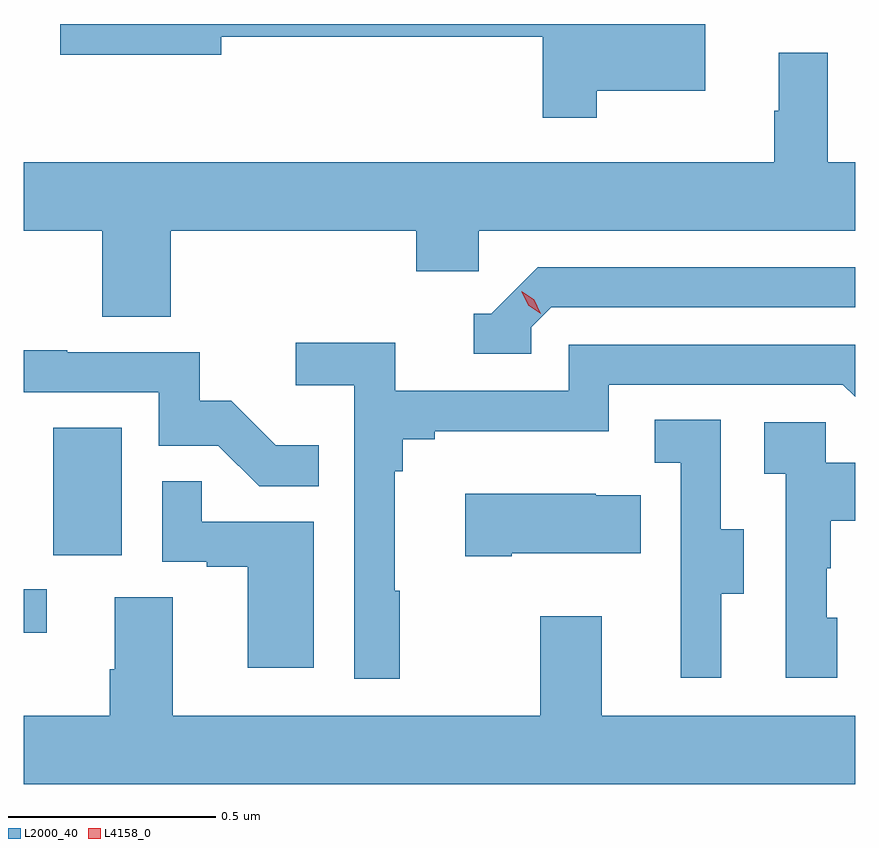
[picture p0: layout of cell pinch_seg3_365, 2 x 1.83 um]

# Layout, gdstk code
import gdstk
lib = gdstk.Library(unit=1e-6, precision=1e-09)
def R(c, l, rs):  # rectangles x0, y0, x1, y1
    for r in rs: c.add(gdstk.rectangle(r[:2], r[2:], *l))
def P(c, l, *ps):  # polygons
    for p in ps: c.add(gdstk.Polygon(p, *l))
L2000_40 = (2000, 40)
L4158_0 = (4158, 0)

pinch_seg3_365 = lib.new_cell('pinch_seg3_365')
R(pinch_seg3_365, L2000_40, [(1008.627,705.276,1008.682,705.381), (1008.698,705.462,1008.862,705.769)])
P(pinch_seg3_365, L2000_40, [(1010.005,706.58),(1010.266,706.58),(1010.266,706.741),(1008.714,706.741),(1008.714,706.667),(1009.102,706.667),(1009.102,706.71),(1009.876,706.71),(1009.876,706.515),(1010.005,706.515)],
  [(1008.98,706.244),(1009.571,706.244),(1009.571,706.146),(1009.722,706.146),(1009.722,706.244),(1010.627,706.244),(1010.627,706.408),(1010.561,706.408),(1010.561,706.672),(1010.444,706.672),(1010.444,706.532),(1010.433,706.532),(1010.433,706.408),(1008.627,706.408),(1008.627,706.244),(1008.815,706.244),(1008.815,706.036),(1008.98,706.036)],
  [(1009.848,706.011),(1009.896,706.059),(1010.627,706.059),(1010.627,706.155),(1009.863,706.155),(1009.752,706.044),(1009.709,706.044),(1009.709,705.948),(1009.848,705.948)],
  [(1009.531,705.377),(1009.519,705.377),(1009.519,705.665),(1009.538,705.665),(1009.538,705.742),(1009.615,705.742),(1009.615,705.761),(1010.034,705.761),(1010.034,705.873),(1010.598,705.873),(1010.627,705.844),(1010.627,705.969),(1009.938,705.969),(1009.938,705.858),(1009.52,705.858),(1009.52,705.974),(1009.281,705.974),(1009.281,705.872),(1009.422,705.872),(1009.422,705.165),(1009.531,705.165)],
  [(1009.337,705.727),(1009.233,705.727),(1009.126,705.834),(1009.05,705.834),(1009.05,705.951),(1008.731,705.951),(1008.731,705.956),(1008.627,705.956),(1008.627,705.855),(1008.951,705.855),(1008.951,705.726),(1009.095,705.726),(1009.193,705.628),(1009.337,705.628)],
  [(1010.305,705.37),(1010.359,705.37),(1010.359,705.525),(1010.304,705.525),(1010.304,705.788),(1010.145,705.788),(1010.145,705.685),(1010.208,705.685),(1010.208,705.381),(1010.207,705.381),(1010.207,705.168),(1010.305,705.168)],
  [(1010.584,705.312),(1010.559,705.312),(1010.559,705.431),(1010.569,705.431),(1010.569,705.545),(1010.627,705.545),(1010.627,705.685),(1010.556,705.685),(1010.556,705.783),(1010.409,705.783),(1010.409,705.659),(1010.46,705.659),(1010.46,705.168),(1010.584,705.168)],
  [(1009.324,705.543),(1009.055,705.543),(1009.055,705.641),(1008.96,705.641),(1008.96,705.447),(1009.067,705.447),(1009.067,705.435),(1009.166,705.435),(1009.166,705.192),(1009.324,705.192)],
  [(1009.801,705.467),(1010.111,705.467),(1010.111,705.607),(1010.003,705.607),(1010.003,705.61),(1009.689,705.61),(1009.689,705.46),(1009.801,705.46)],
  [(1010.627,705.076),(1010.017,705.076),(1010.017,705.316),(1009.87,705.316),(1009.87,705.076),(1008.985,705.076),(1008.985,705.362),(1008.845,705.362),(1008.845,705.188),(1008.833,705.188),(1008.833,705.076),(1008.627,705.076),(1008.627,704.912),(1010.627,704.912)])
P(pinch_seg3_365, L4158_0, [(1009.871,706.044),(1009.84,706.064),(1009.825,706.097),(1009.825,706.098),(1009.825,706.098),(1009.855,706.077),(1009.871,706.044),(1009.871,706.044)])

lib.write_gds('pinch_seg3_365.gds')
